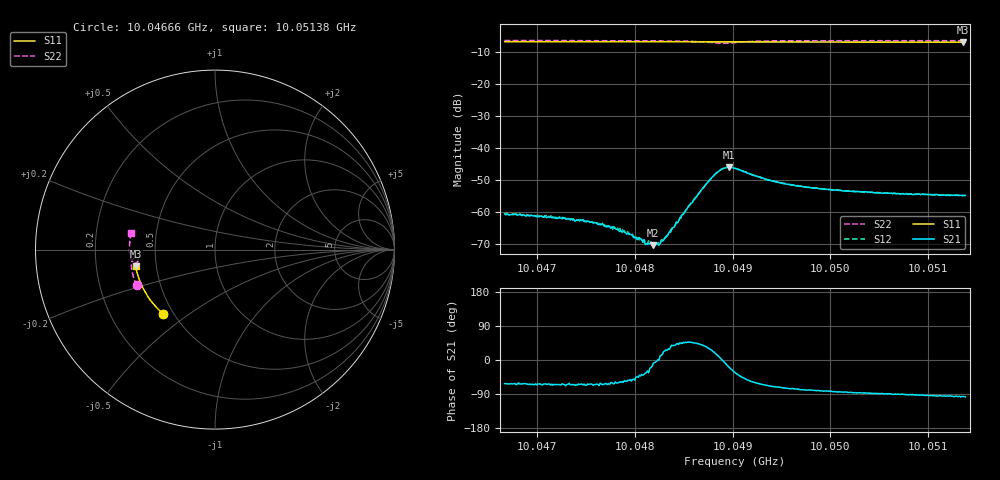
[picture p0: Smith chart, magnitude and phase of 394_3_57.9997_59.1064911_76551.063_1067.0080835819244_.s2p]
#  HZ  S  RI  R  50.00
! Rohde & Schwarz Vector Network Analyzer
! Rohde-Schwarz,ZNB20-2Port,1311601062101988,3.16
! Created: UTC 3/21/2024, 1:07:58 AM
! freq[Hz]  re:S11  im:S11  re:S21  im:S21  re:S12  im:S12  re:S22  im:S22
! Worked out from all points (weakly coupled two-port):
!   401 points, 10.04666 GHz to 10.05138 GHz, reference 50 ohm
!   highest |S21| = -46.00 dB at 10.04896 GHz (marker M1); lowest = -70.4 dB at 10.04819 GHz (marker M2)
!   lowest |S11| = -6.9 dB at 10.05136 GHz (marker M3), VSWR 2.65, Z = 19 - j4.5 ohm
!   |S11| at or under -10 dB: nowhere
!   |S22| runs from -7.3 to -6.4 dB; largest |S21 - S12| = 0.00034
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1.0046664e10  -0.2912 -0.3566  0.000438 -0.000832  0.000473 -0.000804  -0.4369 -0.1997
1.0047112e10  -0.3129 -0.3362  0.000384 -0.000761  0.000414 -0.000766  -0.448 -0.1715
1.0047454e10  -0.3284 -0.3201  0.000326 -0.000658  0.000357 -0.000637  -0.455 -0.1492
1.0047761e10  -0.3417 -0.3049  0.000296 -0.000503  0.000311 -0.000486  -0.4605 -0.1284
1.0047844e10  -0.3452 -0.3005  0.000261 -0.000422  0.000296 -0.00047  -0.4617 -0.1225
1.004795e10  -0.3495 -0.2951  0.000278 -0.000351  0.000306 -0.000348  -0.4631 -0.1148
1.0048009e10  -0.3521 -0.2921  0.000284 -0.000284  0.000287 -0.000314  -0.4638 -0.1106
1.0048068e10  -0.3544 -0.289  0.000291 -0.00023  0.00029 -0.000234  -0.4646 -0.1059
1.0048127e10  -0.3567 -0.286  0.000276 -0.000152  0.000295 -0.000121  -0.465 -0.1016
1.0048186e10  -0.3592 -0.2829  0.000298 -4.98e-05  0.000308 -3.3e-05  -0.4655 -0.0969
1.0048245e10  -0.3615 -0.2797  0.000303 -3.35e-06  0.000343 4.34e-05  -0.4659 -0.0922
1.0048327e10  -0.3646 -0.2754  0.000382 0.000183  0.000379 0.000208  -0.4661 -0.0852
1.0048551e10  -0.373 -0.263  0.00084 0.000915  0.000795 0.000964  -0.4626 -0.0647
1.0048787e10  -0.381 -0.25  0.00316 0.00148  0.00307 0.00167  -0.4414 -0.0472
1.0048881e10  -0.3842 -0.2447  0.00463 0.000225  0.00461 0.000522  -0.4295 -0.0552
1.0048964e10  -0.3868 -0.2402  0.00472 -0.00169  0.00483 -0.00137  -0.4319 -0.0682
1.0049023e10  -0.3889 -0.2369  0.00401 -0.00263  0.00422 -0.00239  -0.44 -0.0729
1.0049377e10  -0.4001 -0.2167  0.00116 -0.00293  0.00134 -0.00287  -0.4697 -0.0485
1.0049813e10  -0.4124 -0.1906  0.000423 -0.00235  0.000543 -0.00233  -0.4758 -0.0134
1.0050603e10  -0.4303 -0.142  3.74e-05 -0.00198  0.000118 -0.00198  -0.4749 0.0421
1.0051358e10  -0.4421 -0.0941  -0.000195 -0.0018  -0.000118 -0.0018  -0.4672 0.0925
1.0051381e10  -0.4425 -0.0927  -0.00023 -0.00181  -0.000133 -0.00181  -0.467 0.0939
